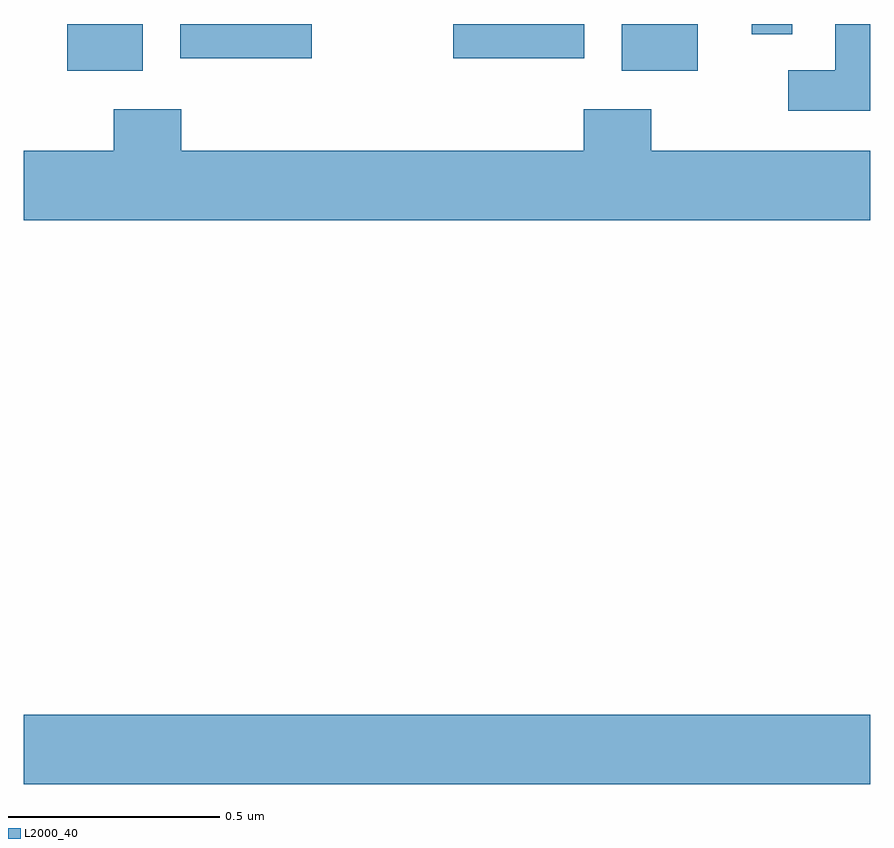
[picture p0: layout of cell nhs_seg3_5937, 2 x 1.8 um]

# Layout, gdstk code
import gdstk
lib = gdstk.Library(unit=1e-6, precision=1e-09)
def R(c, l, rs):  # rectangles x0, y0, x1, y1
    for r in rs: c.add(gdstk.rectangle(r[:2], r[2:], *l))
def P(c, l, *ps):  # polygons
    for p in ps: c.add(gdstk.Polygon(p, *l))
L2000_40 = (2000, 40)

nhs_seg3_5937 = lib.new_cell('nhs_seg3_5937')
R(nhs_seg3_5937, L2000_40, [(185,679.604,187,679.768), (185.102,681.29,185.281,681.4), (186.413,681.29,186.592,681.4), (185.37,681.319,185.68,681.4), (186.015,681.319,186.324,681.4), (186.72,681.376,186.816,681.4)])
P(nhs_seg3_5937, L2000_40, [(187,681.4),(186.917,681.4),(186.917,681.291),(186.807,681.291),(186.807,681.195),(187,681.195)],
  [(187,681.1),(186.483,681.1),(186.483,681.199),(186.323,681.199),(186.323,681.1),(185.372,681.1),(185.372,681.199),(185.212,681.199),(185.212,681.1),(185,681.1),(185,680.936),(187,680.936)])

lib.write_gds('nhs_seg3_5937.gds')
